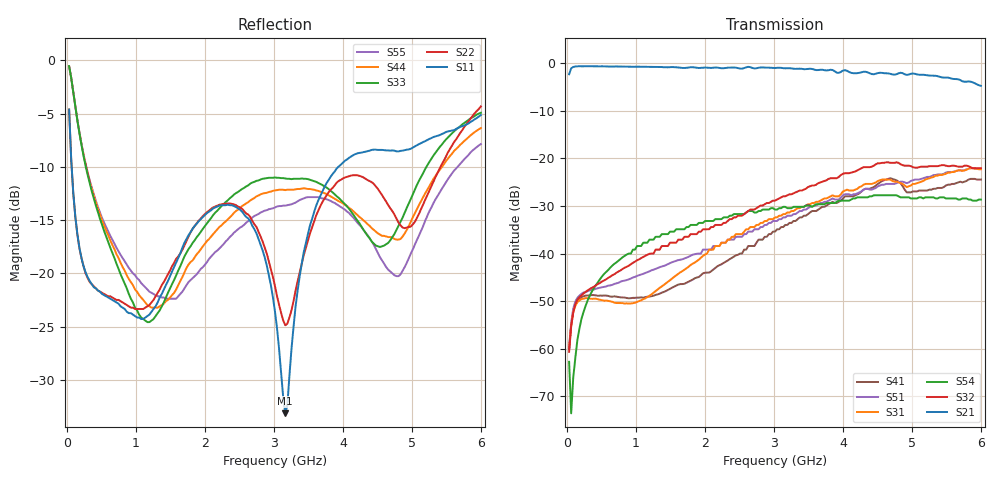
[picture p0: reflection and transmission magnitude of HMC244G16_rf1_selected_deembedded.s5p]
!Hittite Microwave Corporation
!12 Elizabeth Drive
!Chelmsford, MA 01824
!Tel: 978-250-3343
!Fax: 978-250-3373
!Device: HMC244G16, DC - 4 GHz GaAs MMIC SP4T Non-Reflective Switch in 16 lead hermetic package
!Misc: Port 1 = RFC, Port 2 = RF1, Port 3 = RF2, Port 4 = RF3, Port 5 = RF4, RF1 Selected, Bias: +5VDC
# MHZ S MA R 50
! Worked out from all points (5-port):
!   201 points, 30 MHz to 6 GHz, reference 50 ohm
!   strongest paths, dB at 30 MHz, 1.522 GHz, 3.015 GHz, 4.508 GHz, 6 GHz:
!     S21: -2.3, -0.8, -1.0, -2.0, -4.7
!     S32: -60.7, -37.7, -28.9, -21.0, -22.0
!     S54: -62.8, -35.4, -30.8, -27.7, -28.6
!     S31: -59.7, -45.3, -32.4, -24.7, -22.3
!     S51: -59.6, -41.8, -33.2, -25.8, -22.2
!     S41: -60.2, -47.2, -35.4, -25.4, -24.4
!   lowest |S11| = -33.2 dB at 3.164 GHz (marker M1), VSWR 1.04, Z = 52.2 + j0.451 ohm
!   |S11| at or under -10 dB: 67.01 MHz to 3.933 GHz (3.866 GHz wide, 193 % of centre)
